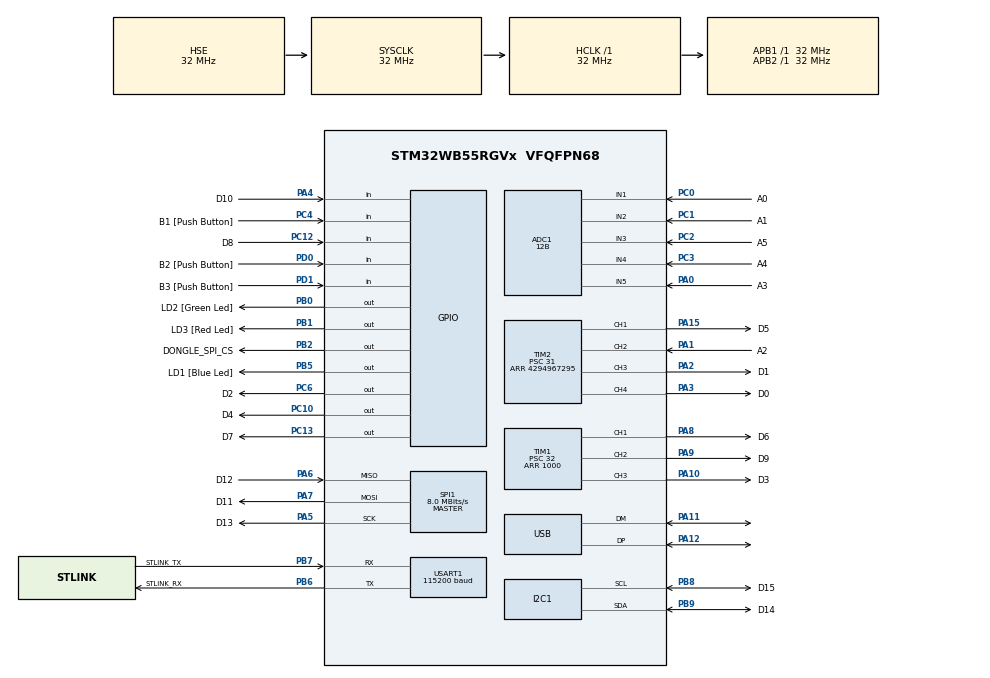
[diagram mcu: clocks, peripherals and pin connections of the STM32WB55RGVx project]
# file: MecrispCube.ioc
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ADC1.Channel-0\#ChannelRegularConversion=ADC_CHANNEL_1
ADC1.Channel-IN1=ADC_CHANNEL_1
ADC1.Channel-IN2=ADC_CHANNEL_2
ADC1.Channel-IN3=ADC_CHANNEL_3
ADC1.Channel-IN4=ADC_CHANNEL_4
ADC1.Channel-IN5=ADC_CHANNEL_5
ADC1.ClockPrescaler=ADC_CLOCK_ASYNC_DIV1
ADC1.ContinuousConvMode=DISABLE
ADC1.DMAContinuousRequests=DISABLE
ADC1.DataAlign=ADC_DATAALIGN_RIGHT
ADC1.DiscontinuousConvMode=DISABLE
ADC1.EOCSelection=ADC_EOC_SINGLE_CONV
ADC1.EnableAnalogWatchDog1=false
ADC1.EnableAnalogWatchDog2=false
ADC1.EnableAnalogWatchDog3=false
ADC1.EnableInjectedConversion=DISABLE
ADC1.EnableRegularConversion=ENABLE
ADC1.ExternalTrigConv=ADC_SOFTWARE_START
ADC1.ExternalTrigConvEdge=ADC_EXTERNALTRIGCONVEDGE_NONE
ADC1.LowPowerAutoWait=DISABLE
ADC1.NbrOfConversion=1
ADC1.OffsetNumber-0\#ChannelRegularConversion=ADC_OFFSET_NONE
ADC1.Overrun=ADC_OVR_DATA_PRESERVED
ADC1.OversamplingMode=DISABLE
ADC1.Rank-0\#ChannelRegularConversion=1
ADC1.Resolution=ADC_RESOLUTION_12B
ADC1.SamplingTime-0\#ChannelRegularConversion=ADC_SAMPLETIME_47CYCLES_5
ADC1.ScanConvMode=ADC_SCAN_DISABLE
ADC1.master=1
AES1.Algorithm=CRYP_AES_ECB
AES1.DataType=CRYP_DATATYPE_32B
AES1.DataWidthUnit=CRYP_DATAWIDTHUNIT_WORD
AES1.KeyIVConfigSkip=CRYP_KEYIVCONFIG_ALWAYS
AES1.KeySize=CRYP_KEYSIZE_128B
AES1.pKey=00000000 00000000 00000000 00000000
CRC.DefaultInitValueUse=DEFAULT_INIT_VALUE_ENABLE
CRC.DefaultPolynomialUse=DEFAULT_POLYNOMIAL_ENABLE
CRC.InputDataFormat=CRC_INPUTDATA_FORMAT_BYTES
CRC.InputDataInversionMode=CRC_INPUTDATA_INVERSION_NONE
CRC.OutputDataInversionMode=CRC_OUTPUTDATA_INVERSION_DISABLE
Dma.Request0=SPI1_RX
Dma.Request1=SPI1_TX
Dma.SPI1_RX.0.Direction=DMA_PERIPH_TO_MEMORY
Dma.SPI1_RX.0.EventEnable=DISABLE
Dma.SPI1_RX.0.Instance=DMA1_Channel1
Dma.SPI1_RX.0.MemDataAlignment=DMA_MDATAALIGN_BYTE
Dma.SPI1_RX.0.MemInc=DMA_MINC_ENABLE
Dma.SPI1_RX.0.Mode=DMA_NORMAL
Dma.SPI1_RX.0.PeriphDataAlignment=DMA_PDATAALIGN_BYTE
Dma.SPI1_RX.0.PeriphInc=DMA_PINC_DISABLE
Dma.SPI1_RX.0.Polarity=HAL_DMAMUX_REQ_GEN_RISING
Dma.SPI1_RX.0.Priority=DMA_PRIORITY_LOW
Dma.SPI1_RX.0.RequestNumber=1
Dma.SPI1_RX.0.SignalID=NONE
Dma.SPI1_RX.0.SyncEnable=DISABLE
Dma.SPI1_RX.0.SyncPolarity=HAL_DMAMUX_SYNC_NO_EVENT
Dma.SPI1_RX.0.SyncRequestNumber=1
Dma.SPI1_RX.0.SyncSignalID=NONE
Dma.SPI1_TX.1.Direction=DMA_MEMORY_TO_PERIPH
Dma.SPI1_TX.1.EventEnable=DISABLE
Dma.SPI1_TX.1.Instance=DMA1_Channel2
Dma.SPI1_TX.1.MemDataAlignment=DMA_MDATAALIGN_BYTE
Dma.SPI1_TX.1.MemInc=DMA_MINC_ENABLE
Dma.SPI1_TX.1.Mode=DMA_NORMAL
Dma.SPI1_TX.1.PeriphDataAlignment=DMA_PDATAALIGN_BYTE
Dma.SPI1_TX.1.PeriphInc=DMA_PINC_DISABLE
Dma.SPI1_TX.1.Polarity=HAL_DMAMUX_REQ_GEN_RISING
Dma.SPI1_TX.1.Priority=DMA_PRIORITY_LOW
Dma.SPI1_TX.1.RequestNumber=1
Dma.SPI1_TX.1.SignalID=NONE
Dma.SPI1_TX.1.SyncEnable=DISABLE
Dma.SPI1_TX.1.SyncPolarity=HAL_DMAMUX_SYNC_NO_EVENT
Dma.SPI1_TX.1.SyncRequestNumber=1
Dma.SPI1_TX.1.SyncSignalID=NONE
FREERTOS.HEAP_NUMBER=4
FREERTOS.INCLUDE_eTaskGetState=1
FREERTOS.INCLUDE_pcTaskGetTaskName=0
FREERTOS.INCLUDE_uxTaskGetStackHighWaterMark=1
FREERTOS.INCLUDE_uxTaskGetStackHighWaterMark2=0
FREERTOS.INCLUDE_uxTaskPriorityGet=1
FREERTOS.INCLUDE_vTaskCleanUpResources=0
FREERTOS.INCLUDE_vTaskDelay=1
FREERTOS.INCLUDE_vTaskDelayUntil=1
FREERTOS.INCLUDE_vTaskDelete=1
FREERTOS.INCLUDE_vTaskPrioritySet=1
FREERTOS.INCLUDE_vTaskSuspend=1
FREERTOS.INCLUDE_xEventGroupSetBitFromISR=0
FREERTOS.INCLUDE_xQueueGetMutexHolder=1
FREERTOS.INCLUDE_xSemaphoreGetMutexHolder=0
FREERTOS.INCLUDE_xTaskAbortDelay=0
FREERTOS.INCLUDE_xTaskGetCurrentTaskHandle=1
FREERTOS.INCLUDE_xTaskGetHandle=0
FREERTOS.INCLUDE_xTaskGetSchedulerState=1
FREERTOS.INCLUDE_xTaskResumeFromISR=1
FREERTOS.INCLUDE_xTimerPendFunctionCall=1
FREERTOS.Tasks01=FORTH_ConThread,24,512,MainThread,Default,NULL,Dynamic,NULL,NULL
FREERTOS.configCHECK_FOR_STACK_OVERFLOW=0
FREERTOS.configENABLE_BACKWARD_COMPATIBILITY=1
FREERTOS.configENABLE_FPU=0
FREERTOS.configGENERATE_RUN_TIME_STATS=0
FREERTOS.configHEAP_CLEAR_MEMORY_ON_FREE=0
FREERTOS.configIDLE_SHOULD_YIELD=1
FREERTOS.configLIBRARY_LOWEST_INTERRUPT_PRIORITY=15
FREERTOS.configLIBRARY_MAX_SYSCALL_INTERRUPT_PRIORITY=5
FREERTOS.configMAX_CO_ROUTINE_PRIORITIES=2
FREERTOS.configMAX_TASK_NAME_LEN=16
FREERTOS.configMINIMAL_STACK_SIZE=192
FREERTOS.configOVERRIDE_DEFAULT_TICK_CONFIGURATION=0
FREERTOS.configQUEUE_REGISTRY_SIZE=8
FREERTOS.configRECORD_STACK_HIGH_ADDRESS=0
FREERTOS.configTICK_RATE_HZ=1000
FREERTOS.configTIMER_QUEUE_LENGTH=10
FREERTOS.configTIMER_TASK_PRIORITY=2
FREERTOS.configTIMER_TASK_STACK_DEPTH=192
FREERTOS.configTOTAL_HEAP_SIZE=81920
FREERTOS.configUSE_APPLICATION_TASK_TAG=0
FREERTOS.configUSE_COUNTING_SEMAPHORES=1
FREERTOS.configUSE_CO_ROUTINES=0
FREERTOS.configUSE_DAEMON_TASK_STARTUP_HOOK=0
FREERTOS.configUSE_IDLE_HOOK=0
FREERTOS.configUSE_MALLOC_FAILED_HOOK=0
FREERTOS.configUSE_MINI_LIST_ITEM=1
FREERTOS.configUSE_MUTEXES=1
FREERTOS.configUSE_NEWLIB_REENTRANT=1
FREERTOS.configUSE_OS2_EVENTFLAGS_FROM_ISR=1
FREERTOS.configUSE_OS2_MUTEX=1
FREERTOS.configUSE_OS2_THREAD_ENUMERATE=1
FREERTOS.configUSE_OS2_THREAD_FLAGS=1
FREERTOS.configUSE_OS2_THREAD_SUSPEND_RESUME=1
FREERTOS.configUSE_OS2_TIMER=1
FREERTOS.configUSE_POSIX_ERRNO=0
FREERTOS.configUSE_PREEMPTION=1
FREERTOS.configUSE_RECURSIVE_MUTEXES=1
FREERTOS.configUSE_SB_COMPLETED_CALLBACK=0
FREERTOS.configUSE_STATS_FORMATTING_FUNCTIONS=0
FREERTOS.configUSE_TASK_NOTIFICATIONS=1
FREERTOS.configUSE_TICKLESS_IDLE=0
FREERTOS.configUSE_TICK_HOOK=0
FREERTOS.configUSE_TRACE_FACILITY=1
FREERTOS.copyHeapFile=1
I2C1.Timing=0x00B07CB4
Mcu.Family=STM32WB
Mcu.Name=STM32WB55RGVx
Mcu.Package=VFQFPN68
NVIC.ADC1_IRQn=true\:5\:0\:false\:false\:true\:true\:true\:true\:true
NVIC.DMA1_Channel1_IRQn=true\:5\:0\:false\:false\:true\:true\:false\:true\:true
NVIC.DMA1_Channel2_IRQn=true\:5\:0\:false\:false\:true\:true\:false\:true\:true
NVIC.FLASH_IRQn=true\:5\:0\:false\:false\:true\:true\:true\:true\:true
NVIC.HSEM_IRQn=true\:5\:0\:false\:false\:true\:false\:false\:true\:true
NVIC.IPCC_C1_RX_IRQn=true\:5\:0\:false\:false\:true\:true\:true\:true\:true
NVIC.IPCC_C1_TX_IRQn=true\:5\:0\:false\:false\:true\:true\:true\:true\:true
NVIC.PriorityGroup=NVIC_PRIORITYGROUP_4
NVIC.RTC_WKUP_IRQn=true\:5\:0\:false\:false\:true\:true\:true\:true\:true
NVIC.SPI1_IRQn=true\:5\:0\:false\:false\:true\:true\:true\:true\:true
NVIC.TIM1_TRG_COM_TIM17_IRQn=true\:15\:0\:false\:false\:true\:false\:false\:true\:true
NVIC.TIM1_UP_TIM16_IRQn=true\:5\:0\:false\:false\:true\:true\:true\:true\:true
NVIC.TIM2_IRQn=true\:5\:0\:false\:false\:true\:true\:true\:true\:true
NVIC.TimeBase=TIM1_TRG_COM_TIM17_IRQn
NVIC.TimeBaseIP=TIM17
NVIC.USART1_IRQn=true\:5\:0\:true\:false\:true\:false\:true\:true\:true
NVIC.WWDG_IRQn=true\:5\:0\:false\:false\:true\:true\:true\:true\:true
OSC_IN.Mode=HSE-External-Oscillator
OSC_IN.Signal=RCC_OSC_IN
OSC_OUT.Mode=HSE-External-Oscillator
OSC_OUT.Signal=RCC_OSC_OUT
PA0.GPIO_Label=A3
PA0.Signal=SharedAnalog_PA0
PA1.GPIO_Label=A2
PA1.Signal=S_TIM2_CH2
PA10.GPIO_Label=D3
PA10.Signal=S_TIM1_CH3
PA11.Mode=Device
PA11.Signal=USB_DM
PA12.Mode=Device
PA12.Signal=USB_DP
PA13.GPIO_Label=JTMS
PA13.Mode=Trace_Asynchronous_SW
PA13.Signal=SYS_JTMS-SWDIO
PA14.GPIO_Label=JTCK
PA14.Mode=Trace_Asynchronous_SW
PA14.Signal=SYS_JTCK-SWCLK
PA15.GPIO_Label=D5
PA15.Signal=S_TIM2_CH1
PA2.GPIO_Label=D1
PA2.Signal=S_TIM2_CH3
PA3.GPIO_Label=D0
PA3.Signal=S_TIM2_CH4
PA4.GPIO_Label=D10
PA4.GPIO_PuPd=GPIO_PULLUP
PA4.Signal=GPIO_Input
PA5.GPIO_Label=D13
PA5.Mode=Full_Duplex_Master
PA5.Signal=SPI1_SCK
PA6.GPIO_Label=D12
PA6.GPIO_PuPd=GPIO_PULLUP
PA6.Mode=Full_Duplex_Master
PA6.Signal=SPI1_MISO
PA7.GPIO_Label=D11
PA7.Mode=Full_Duplex_Master
PA7.Signal=SPI1_MOSI
PA8.GPIO_Label=D6
PA8.Signal=S_TIM1_CH1
PA9.GPIO_Label=D9
PA9.Signal=S_TIM1_CH2
PB0.GPIO_Label=LD2 [Green Led]
PB0.Signal=GPIO_Output
PB1.GPIO_Label=LD3 [Red Led]
PB1.Signal=GPIO_Output
PB2.GPIO_Label=DONGLE_SPI_CS
PB2.PinState=GPIO_PIN_SET
PB2.Signal=GPIO_Output
PB3.GPIO_Label=JTDO
PB3.Mode=Trace_Asynchronous_SW
PB3.Signal=SYS_JTDO-SWO
PB5.GPIO_Label=LD1 [Blue Led]
PB5.Signal=GPIO_Output
PB6.GPIO_Label=STLINK_RX
PB6.Mode=Asynchronous
PB6.Signal=USART1_TX
PB7.GPIO_Label=STLINK_TX
PB7.Mode=Asynchronous
PB7.Signal=USART1_RX
PB8.GPIO_Label=D15
PB8.GPIO_PuPd=GPIO_PULLUP
PB8.Signal=SharedStack_PB8
PB8.Stacked=true
PB9.GPIO_Label=D14
PB9.GPIO_PuPd=GPIO_PULLUP
PB9.Signal=SharedStack_PB9
PB9.Stacked=true
PC0.GPIO_Label=A0
PC0.Signal=SharedAnalog_PC0
PC1.GPIO_Label=A1
PC1.Signal=SharedAnalog_PC1
PC10.GPIO_Label=D4
PC10.Signal=GPIO_Output
PC12.GPIO_Label=D8
PC12.GPIO_PuPd=GPIO_PULLUP
PC12.Signal=GPIO_Input
PC13.GPIO_Label=D7
PC13.Signal=GPIO_Output
PC14-OSC32_IN.Mode=LSE-External-Oscillator
PC14-OSC32_IN.Signal=RCC_OSC32_IN
PC15-OSC32_OUT.Mode=LSE-External-Oscillator
PC15-OSC32_OUT.Signal=RCC_OSC32_OUT
PC2.GPIO_Label=A5
PC2.Signal=SharedAnalog_PC2
PC3.GPIO_Label=A4
PC3.Signal=SharedAnalog_PC3
PC4.GPIO_Label=B1 [Push Button]
PC4.GPIO_PuPd=GPIO_PULLUP
PC4.Signal=GPIO_Input
PC6.GPIO_Label=D2
PC6.Signal=GPIO_Output
PD0.GPIO_Label=B2 [Push Button]
PD0.GPIO_PuPd=GPIO_PULLUP
PD0.Signal=GPIO_Input
PD1.GPIO_Label=B3 [Push Button]
PD1.GPIO_PuPd=GPIO_PULLUP
PD1.Signal=GPIO_Input
ProjectManager.HeapSize=0x0400
ProjectManager.StackSize=0x0400
ProjectManager.TargetToolchain=CMake
RCC.ADCFreq_Value=48000000
RCC.AHBFreq_Value=32000000
RCC.APB1Freq_Value=32000000
RCC.APB1TimFreq_Value=32000000
RCC.APB2Freq_Value=32000000
RCC.APB2TimFreq_Value=32000000
RCC.APB3Freq_Value=16000000
RCC.CortexFreq_Value=32000000
RCC.FLatency=FLASH_LATENCY_1
RCC.HCLKFreq_Value=32000000
RCC.HSE_VALUE=32000000
RCC.HSI48_VALUE=48000000
RCC.HSI_VALUE=16000000
RCC.LSE_Drive_Capability=RCC_LSEDRIVE_LOW
RCC.MSIClockRange=RCC_MSIRANGE_10
RCC.PLLM=RCC_PLLM_DIV2
RCC.PLLSAI1N=6
RCC.RTCClockSelection=RCC_RTCCLKSOURCE_LSE
RCC.SYSCLKFreq_VALUE=32000000
RCC.USBFreq_Value=48000000
RCC.VCOOutputFreq_Value=128000000
RF1.Mode=RF1_Activate
RF1.Signal=RF_RF1
RNG.ClockErrorDetection=RNG_CED_ENABLE
RTC.AsynchPrediv=CFG_RTC_ASYNCH_PRESCALER
RTC.Date=1
RTC.DayLightSaving=RTC_DAYLIGHTSAVING_NONE
RTC.Format=RTC_FORMAT_BIN
RTC.HourFormat=RTC_HOURFORMAT_24
RTC.Hours=0
RTC.Minutes=0
RTC.Month=RTC_MONTH_JANUARY
RTC.Seconds=0
RTC.StoreOperation=RTC_STOREOPERATION_RESET
RTC.SynchPrediv=CFG_RTC_SYNCH_PRESCALER
RTC.WakeUpClock-WakeUp=RTC_WAKEUPCLOCK_RTCCLK_DIV16
RTC.WakeUpCounter-WakeUp=0
RTC.WeekDay=RTC_WEEKDAY_MONDAY
RTC.Year=0
SH.S_TIM1_CH1.0=TIM1_CH1,PWM Generation1 CH1
SH.S_TIM1_CH2.0=TIM1_CH2,PWM Generation2 CH2
SH.S_TIM1_CH3.0=TIM1_CH3,PWM Generation3 CH3
SH.S_TIM2_CH1.0=TIM2_CH1,Output Compare1 CH1
SH.S_TIM2_CH2.0=TIM2_CH2,Input_Capture2_from_TI2
SH.S_TIM2_CH3.0=TIM2_CH3,Output Compare3 CH3
SH.S_TIM2_CH4.0=TIM2_CH4,Output Compare4 CH4
SH.SharedAnalog_PA0.0=GPIO_Analog
SH.SharedAnalog_PA0.1=ADC1_IN5,IN5-Single-Ended
SH.SharedAnalog_PC0.0=GPIO_Analog
SH.SharedAnalog_PC0.1=ADC1_IN1,IN1-Single-Ended
SH.SharedAnalog_PC1.0=GPIO_Analog
SH.SharedAnalog_PC1.1=ADC1_IN2,IN2-Single-Ended
SH.SharedAnalog_PC2.0=GPIO_Analog
SH.SharedAnalog_PC2.1=ADC1_IN3,IN3-Single-Ended
SH.SharedAnalog_PC3.0=GPIO_Analog
SH.SharedAnalog_PC3.1=ADC1_IN4,IN4-Single-Ended
SH.SharedStack_PB8.0=GPIO_Input+0
SH.SharedStack_PB8.1=I2C1_SCL,I2C
SH.SharedStack_PB9.0=GPIO_Input+0
SH.SharedStack_PB9.1=I2C1_SDA,I2C
SPI1.BaudRatePrescaler=SPI_BAUDRATEPRESCALER_4
SPI1.CLKPhase=SPI_PHASE_2EDGE
SPI1.CLKPolarity=SPI_POLARITY_HIGH
SPI1.CRCCalculation=SPI_CRCCALCULATION_DISABLE
SPI1.CalculateBaudRate=8.0 MBits/s
SPI1.DataSize=SPI_DATASIZE_8BIT
SPI1.Direction=SPI_DIRECTION_2LINES
SPI1.FirstBit=SPI_FIRSTBIT_MSB
SPI1.Mode=SPI_MODE_MASTER
SPI1.NSS=SPI_NSS_SOFT
SPI1.TIMode=SPI_TIMODE_DISABLE
SPI1.VirtualType=VM_MASTER
TIM1.AutoReloadPreload=TIM_AUTORELOAD_PRELOAD_DISABLE
TIM1.AutomaticOutput=TIM_AUTOMATICOUTPUT_DISABLE
TIM1.Break2Filter=0
TIM1.Break2Polarity=TIM_BREAK2POLARITY_HIGH
TIM1.Break2State=TIM_BREAK2_DISABLE
TIM1.BreakFilter=0
TIM1.BreakPolarity=TIM_BREAKPOLARITY_HIGH
TIM1.BreakState=TIM_BREAK_DISABLE
TIM1.Channel-PWM\ Generation1\ CH1=TIM_CHANNEL_1
TIM1.Channel-PWM\ Generation2\ CH2=TIM_CHANNEL_2
TIM1.Channel-PWM\ Generation3\ CH3=TIM_CHANNEL_3
TIM1.ClearInputSource=TIM_CLEARINPUTSOURCE_NONE
TIM1.ClockDivision=TIM_CLOCKDIVISION_DIV1
TIM1.CounterMode=TIM_COUNTERMODE_UP
TIM1.LockLevel=TIM_LOCKLEVEL_OFF
TIM1.OC1Preload_PWM=ENABLE
TIM1.OC2Preload_PWM=ENABLE
TIM1.OC3Preload_PWM=ENABLE
TIM1.OCFastMode_PWM-PWM\ Generation1\ CH1=TIM_OCFAST_DISABLE
TIM1.OCFastMode_PWM-PWM\ Generation2\ CH2=TIM_OCFAST_DISABLE
TIM1.OCFastMode_PWM-PWM\ Generation3\ CH3=TIM_OCFAST_DISABLE
TIM1.OCIdleState_1=TIM_OCIDLESTATE_RESET
TIM1.OCIdleState_2=TIM_OCIDLESTATE_RESET
TIM1.OCIdleState_3=TIM_OCIDLESTATE_RESET
TIM1.OCMode_PWM-PWM\ Generation1\ CH1=TIM_OCMODE_PWM1
TIM1.OCMode_PWM-PWM\ Generation2\ CH2=TIM_OCMODE_PWM1
TIM1.OCMode_PWM-PWM\ Generation3\ CH3=TIM_OCMODE_PWM1
TIM1.OCPolarity_1=TIM_OCPOLARITY_HIGH
TIM1.OCPolarity_2=TIM_OCPOLARITY_HIGH
TIM1.OCPolarity_3=TIM_OCPOLARITY_HIGH
TIM1.OffStateIDLEMode=TIM_OSSI_DISABLE
TIM1.OffStateRunMode=TIM_OSSR_DISABLE
TIM1.Period=1000
TIM1.Prescaler=32
TIM1.Pulse-PWM\ Generation1\ CH1=0
TIM1.Pulse-PWM\ Generation2\ CH2=0
TIM1.Pulse-PWM\ Generation3\ CH3=0
TIM1.RepetitionCounter=0
TIM1.SourceBRK2COMP1=TIM_BREAKINPUTSOURCE_DISABLE
TIM1.SourceBRK2COMP2=TIM_BREAKINPUTSOURCE_DISABLE
TIM1.SourceBRK2DigInput=TIM_BREAKINPUTSOURCE_DISABLE
TIM1.SourceBRKCOMP1=TIM_BREAKINPUTSOURCE_DISABLE
TIM1.SourceBRKCOMP2=TIM_BREAKINPUTSOURCE_DISABLE
TIM1.SourceBRKDigInput=TIM_BREAKINPUTSOURCE_DISABLE
TIM1.TIM_MasterOutputTrigger=TIM_TRGO_RESET
TIM1.TIM_MasterOutputTrigger2=TIM_TRGO2_RESET
TIM1.TIM_MasterSlaveMode=TIM_MASTERSLAVEMODE_DISABLE
TIM2.AutoReloadPreload=TIM_AUTORELOAD_PRELOAD_DISABLE
TIM2.Channel-Input_Capture2_from_TI2=TIM_CHANNEL_2
TIM2.Channel-Output\ Compare1\ CH1=TIM_CHANNEL_1
TIM2.Channel-Output\ Compare3\ CH3=TIM_CHANNEL_3
TIM2.Channel-Output\ Compare4\ CH4=TIM_CHANNEL_4
TIM2.ClearInputSource=TIM_CLEARINPUTSOURCE_NONE
TIM2.ClockDivision=TIM_CLOCKDIVISION_DIV1
TIM2.CounterMode=TIM_COUNTERMODE_UP
TIM2.ICFilter_CH2=0
TIM2.ICPolarity_CH2=TIM_INPUTCHANNELPOLARITY_RISING
TIM2.ICPrescaler-Input_Capture2_from_TI2=TIM_ICPSC_DIV1
TIM2.ICSelection-Input_Capture2_from_TI2=TIM_ICSELECTION_DIRECTTI
TIM2.OC1Preload=DISABLE
TIM2.OC3Preload=DISABLE
TIM2.OC4Preload=DISABLE
TIM2.OCMode_1=TIM_OCMODE_TIMING
TIM2.OCMode_3=TIM_OCMODE_TIMING
TIM2.OCMode_4=TIM_OCMODE_TIMING
TIM2.OCPolarity_1=TIM_OCPOLARITY_HIGH
TIM2.OCPolarity_3=TIM_OCPOLARITY_HIGH
TIM2.OCPolarity_4=TIM_OCPOLARITY_HIGH
TIM2.Period=4294967295
TIM2.Prescaler=31
TIM2.Pulse-Output\ Compare1\ CH1=0
TIM2.Pulse-Output\ Compare3\ CH3=0
TIM2.Pulse-Output\ Compare4\ CH4=0
TIM2.TIM_MasterOutputTrigger=TIM_TRGO_RESET
TIM2.TIM_MasterSlaveMode=TIM_MASTERSLAVEMODE_DISABLE
USART1.AutoBaudRateEnableParam=UART_ADVFEATURE_AUTOBAUDRATE_DISABLE
USART1.BaudRate=115200
USART1.ClockPrescaler=PRESCALER_DIV1
USART1.DMADisableonRxErrorParam=ADVFEATURE_DMA_ENABLEONRXERROR
USART1.DataInvertParam=ADVFEATURE_DATAINV_DISABLE
USART1.FIFOMode=FIFOMODE_ENABLE
USART1.MSBFirstParam=ADVFEATURE_MSBFIRST_DISABLE
USART1.Mode=MODE_TX_RX
USART1.OneBitSampling=UART_ONE_BIT_SAMPLE_DISABLE
USART1.OverSampling=UART_OVERSAMPLING_16
USART1.OverrunDisableParam=ADVFEATURE_OVERRUN_DISABLE
USART1.Parity=PARITY_NONE
USART1.RXFIFOThreshold=RXFIFO_THRESHOLD_1EIGHTHFULL
USART1.RxPinLevelInvertParam=ADVFEATURE_RXINV_DISABLE
USART1.StopBits=STOPBITS_1
USART1.SwapParam=ADVFEATURE_SWAP_DISABLE
USART1.TXFIFOThreshold=TXFIFO_THRESHOLD_1EIGHTHFULL
USART1.TxPinLevelInvertParam=ADVFEATURE_TXINV_DISABLE
USART1.VirtualMode-Asynchronous=VM_ASYNC
USART1.WordLength=WORDLENGTH_8B
USB.DeviceSpeed=PCD_SPEED_FULL
USB.Sof_enable=DISABLE
USB.battery_charging_enable=DISABLE
USB.low_power_enable=DISABLE
USB.lpm_enable=DISABLE
USB.phy_itface=PCD_PHY_EMBEDDED
VP_AES1_VS_AES.Mode=AES_Activate
VP_CRC_VS_CRC.Mode=CRC_Activate
VP_FATFS_VS_Generic.Mode=User_defined
VP_FREERTOS_VS_CMSIS_V2.Mode=CMSIS_V2
VP_HSEM_VS_HSEM.Mode=HSEM_Activate
VP_IPCC_VS_IPCC.Mode=IPCC_Activate
VP_MEMORYMAP_VS_MEMORYMAP.Mode=CurAppReg
VP_PKA_VS_PKA.Mode=PKA_Activate
VP_RCC_USB.Mode=CRS SYNC Source USB
VP_RNG_VS_RNG.Mode=RNG_Activate
VP_RTC_VS_RTC_Activate.Mode=RTC_Enabled
VP_RTC_VS_RTC_Calendar.Mode=RTC_Calendar
VP_RTC_VS_RTC_WakeUp_intern.Mode=WakeUp
VP_STM32_WPAN_VS_BLE_HOST.Mode=STM32_WPAN_Enabled
VP_SYS_VS_tim17.Mode=TIM17
VP_TIM16_VS_ClockSourceINT.Mode=Enable_Timer
VP_TIM1_VS_ClockSourceINT.Mode=Internal
VP_TINY_LPM_VS_TINY_LPM.Mode=TINY_LPM_Enabled
VP_WWDG_VS_WWDG.Mode=WWDG_Activate
WWDG.Counter=64
WWDG.EWIMode=WWDG_EWI_ENABLE
WWDG.Prescaler=WWDG_PRESCALER_32
WWDG.Window=64
board=custom

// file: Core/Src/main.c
/* USER CODE BEGIN Header */
/**
 *  @brief
 *      Mecrisp-Cube, Forth for the STM32 Cube ecosystem.
 *
 *      Forth is a CMSIS-RTOS Thread (FreeRTOS Task) MainThread.
 *      Console I/O (UART, USB-CDC, BLE) is buffered and RTOS aware.
 *
 *      STM32WB55C: 1 MiB FLASH
 *      For details see STM32WB55RGVX_FLASH.ld
 *
 *      FLASH (rx)                 : ORIGIN = 0x08000000, LENGTH = 256K
 *       20 KiB Forth Core
 *      186 KiB Middleware (debug 187 KiB, only 128 font chars)
 *
 *      FLASH_FORTH (rx)           : ORIGIN = 0x08040000, LENGTH = 128K
 *      128 KiB Flash Dictionary
 *
 *      FLASH_DRIVE (rx)           : ORIGIN = 0x08060000, LENGTH = 384K
 *      384 KiB future use for built in flash drive
 *
 *      FLASH_BLESTACK (rx)        : ORIGIN = 0x080C0000, LENGTH = 256K
 *
 *      STM32WB55C: 256 KiB RAM
 *
 *      RAM_FORTH (xrw)            : ORIGIN = 0X20000000, LENGTH = 64K
 *       1 KiB Core
 *      63 KiB RAM Dictionary
 *
 *      RAM1 (xrw)                 : ORIGIN = 0x20010000, LENGTH = 128K
 *       1 KiB Stack         (for startup and ISRs, MSP)
 *       2 KiB Heap          (maybe not needed)
 *       4 KiB Flash erase Buffer
 *       4 KiB Block Buffer
 *      10 KiB global variables
 *      90 KiB RTOS Heap (about 17 KiB free)
 *         Thread Stack size
 *              4 KiB Forth (main)
 *              1 KiB UART_Tx
 *              5 KiB UART_Rx
 *              2 KiB CDC_Rx
 *            0.5 KiB CDC_Tx
 *              1 KiB CRS
 *              1 KiB HRS
 *              1 KiB HCI_USER_EVT
 *              1 KiB ADV_UPDATE
 *              1 KiB SHCI_USER_EVT
 *
 *             40 KiB vi text buffer
 *     107 KiB
 *
 *      RAM_SHARED (xrw)           : ORIGIN = 0x20030000, LENGTH = 10K
 *       10 KiB communication between CPU1 and CPU2 (part of RAM2a)
 *
 *     (RAM2a                      : ORIGIN = 0x20030000, LENGTH = 32K)
 *       10 KiB shared between CPU1 and CPU2
 *       22 KiB secure RAM for CPU2
 *
 *     (RAM2b                      : ORIGIN = 0x20038000, LENGTH = 32K)
 *       15 KiB shared between CPU1 and CPU2
 *       17 KiB secure RAM for CPU2
 *
 *
 *  @file
 *      main.c
 *  @author
 *      Peter Schmid, peter@spyr.ch
 *  @date
 *      2020-03-12
 *  @remark
 *      Language: C, STM32CubeIDE GCC
 *  @copyright
 *      Peter Schmid, Switzerland
 *
 *      This project Mecrsip-Cube is free software: you can redistribute it
 *      and/or modify it under the terms of the GNU General Public License
 *      as published by the Free Software Foundation, either version 3 of
 *      the License, or (at your option) any later version.
 *
 *      Mecrsip-Cube is distributed in the hope that it will be useful, but
 *      WITHOUT ANY WARRANTY; without even the implied warranty of
 *      MERCHANTABILITY or FITNESS FOR A PARTICULAR PURPOSE. See the GNU
 *      General Public License for more details.
 *
 *      You should have received a copy of the GNU General Public License
 *      along with Mecrsip-Cube. If not, see http://www.gnu.org/licenses/.
 */
/* USER CODE END Header */
#include "main.h"
#include "cmsis_os2.h"
#include "FreeRTOS.h"
#include "adc.h"
#include "aes.h"
#include "crc.h"
#include "dma.h"
#include "app_fatfs.h"
#include "i2c.h"
#include "ipcc.h"
#include "pka.h"
#include "rf.h"
#include "rng.h"
#include "rtc.h"
#include "spi.h"
#include "tim.h"
#include "usart.h"
//#include "usb.h"
#include "wwdg.h"
#include "gpio.h"

/* USER CODE BEGIN Includes */
#include "app_common.h"
#include "task.h"
#include "uart.h"
#include "flash.h"
#include "usb_cdc.h"
#include "bsp.h"
#include "spi.h"
#include "sd.h"
#include "block.h"
#include "app_fatfs.h"
#include "fs.h"
#include "clock.h"
#include "myassert.h"
#if POWER == 1
#include "power.h"
#endif
#if DCC == 1
#include "dcc.h"
#endif

/* USER CODE END Includes */

/* USER CODE BEGIN PV */
const char MecrispCubeVersion[] = MECRISP_CUBE_VERSION;
const char MecrispVersion[] = "  * ";
const char rc_local[] = RC_LOCAL;

const char ForthCalculator[] = FORTH_CALCULATOR;

/* USER CODE END PV */

void SystemClock_Config(void);
void PeriphCommonClock_Config(void);
void MX_FREERTOS_Init(void);

int main(void)
{

  /* USER CODE BEGIN 1 */
#if POWER == 1
	POWER_startup();
#endif
  /* USER CODE END 1 */

  /* MCU Configuration--------------------------------------------------------*/

  /* Reset of all peripherals, Initializes the Flash interface and the Systick. */
  HAL_Init();
  /* Config code for STM32_WPAN (HSE Tuning must be done before system clock configuration) */
  MX_APPE_Config();

  /* USER CODE BEGIN Init */

  /* activate divide by zero trap (usage fault) */
  SCB->CCR |= SCB_CCR_DIV_0_TRP_Msk;
  /* enable Usage-/Bus-/MPU Fault */
  SCB->SHCSR |= SCB_SHCSR_USGFAULTENA_Msk
             |  SCB_SHCSR_BUSFAULTENA_Msk
             |  SCB_SHCSR_MEMFAULTENA_Msk;

  /* USER CODE END Init */

  /* Configure the system clock */
  SystemClock_Config();

  /* Configure the peripherals common clocks */
  PeriphCommonClock_Config();

  /* IPCC initialisation */
  MX_IPCC_Init();

  /* Initialize all configured peripherals */
  MX_GPIO_Init();
  MX_DMA_Init();
  MX_USART1_UART_Init();
  MX_RTC_Init();
  MX_ADC1_Init();
  MX_TIM1_Init();
  MX_SPI1_Init();
  if (MX_FATFS_Init() != APP_OK) {
    Error_Handler();
  }
  MX_TIM2_Init();
#if DCC == 1
  MX_TIM16_Init();
#endif
//  MX_WWDG_Init();
  MX_AES1_Init();
  MX_RNG_Init();
  MX_PKA_Init();
  MX_CRC_Init();
//  MX_USB_PCD_Init();
  MX_I2C1_Init();
  MX_RF_Init();
  /* USER CODE BEGIN 2 */
#if CFG_DEBUGGER_SUPPORTED == 1
  // test for SWO debug trace
  printf("Hallo Velo\n");
#endif

  /**
   * This prevents the CPU2 to disable the HSI48 oscillator when
   * it does not use anymore the RNG IP
   */
  int i = 100;
  while (LL_HSEM_1StepLock(HSEM, CFG_HW_CLK48_CONFIG_SEMID) && i > 0) {
	  // lock failed
	  i--;
  }
  /* USER CODE END 2 */

  /* Init scheduler */
  osKernelInitialize();

  /* Init code for STM32_WPAN */
  MX_APPE_Init();

  /* Call init function for freertos objects (in cmsis_os2.c) */
  MX_FREERTOS_Init();

  /* Start scheduler */
  osKernelStart();

  /* We should never get here as control is now taken by the scheduler */

  /* Infinite loop */
  while (1)
  {

  }
}

void SystemClock_Config(void)
{
  RCC_OscInitTypeDef RCC_OscInitStruct = {0};
  RCC_ClkInitTypeDef RCC_ClkInitStruct = {0};
  RCC_CRSInitTypeDef RCC_CRSInitStruct = {0};

  /** Macro to configure the PLL multiplication factor
  */
  __HAL_RCC_PLL_PLLM_CONFIG(RCC_PLLM_DIV2);

  /** Macro to configure the PLL clock source
  */
  __HAL_RCC_PLL_PLLSOURCE_CONFIG(RCC_PLLSOURCE_MSI);

  /** Configure LSE Drive Capability
  */
  HAL_PWR_EnableBkUpAccess();
  __HAL_RCC_LSEDRIVE_CONFIG(RCC_LSEDRIVE_LOW);

  /** Configure the main internal regulator output voltage
  */
  __HAL_PWR_VOLTAGESCALING_CONFIG(PWR_REGULATOR_VOLTAGE_SCALE1);

  /** Initializes the RCC Oscillators according to the specified parameters
  * in the RCC_OscInitTypeDef structure.
  */
  RCC_OscInitStruct.OscillatorType = RCC_OSCILLATORTYPE_HSI48|RCC_OSCILLATORTYPE_HSI
                              |RCC_OSCILLATORTYPE_LSI1|RCC_OSCILLATORTYPE_HSE
                              |RCC_OSCILLATORTYPE_LSE;
  RCC_OscInitStruct.HSEState = RCC_HSE_ON;
  RCC_OscInitStruct.LSEState = RCC_LSE_ON;
  RCC_OscInitStruct.HSIState = RCC_HSI_ON;
  RCC_OscInitStruct.HSI48State = RCC_HSI48_ON;
  RCC_OscInitStruct.HSICalibrationValue = RCC_HSICALIBRATION_DEFAULT;
  RCC_OscInitStruct.LSIState = RCC_LSI_ON;
  RCC_OscInitStruct.PLL.PLLState = RCC_PLL_NONE;
  if (HAL_RCC_OscConfig(&RCC_OscInitStruct) != HAL_OK)
  {
    Error_Handler();
  }

  /** Configure the SYSCLKSource, HCLK, PCLK1 and PCLK2 clocks dividers
  */
  RCC_ClkInitStruct.ClockType = RCC_CLOCKTYPE_HCLK4|RCC_CLOCKTYPE_HCLK2
                              |RCC_CLOCKTYPE_HCLK|RCC_CLOCKTYPE_SYSCLK
                              |RCC_CLOCKTYPE_PCLK1|RCC_CLOCKTYPE_PCLK2;
  RCC_ClkInitStruct.SYSCLKSource = RCC_SYSCLKSOURCE_HSE;
  RCC_ClkInitStruct.AHBCLKDivider = RCC_SYSCLK_DIV1;
  RCC_ClkInitStruct.APB1CLKDivider = RCC_HCLK_DIV1;
  RCC_ClkInitStruct.APB2CLKDivider = RCC_HCLK_DIV1;
  RCC_ClkInitStruct.AHBCLK2Divider = RCC_SYSCLK_DIV1;
  RCC_ClkInitStruct.AHBCLK4Divider = RCC_SYSCLK_DIV1;

  if (HAL_RCC_ClockConfig(&RCC_ClkInitStruct, FLASH_LATENCY_1) != HAL_OK)
  {
    Error_Handler();
  }

  /** Enable the SYSCFG APB clock
  */
  __HAL_RCC_CRS_CLK_ENABLE();

  /** Configures CRS
  */
  RCC_CRSInitStruct.Prescaler = RCC_CRS_SYNC_DIV1;
  RCC_CRSInitStruct.Source = RCC_CRS_SYNC_SOURCE_USB;
  RCC_CRSInitStruct.Polarity = RCC_CRS_SYNC_POLARITY_RISING;
  RCC_CRSInitStruct.ReloadValue = __HAL_RCC_CRS_RELOADVALUE_CALCULATE(48000000,1000);
  RCC_CRSInitStruct.ErrorLimitValue = 34;
  RCC_CRSInitStruct.HSI48CalibrationValue = 32;

  HAL_RCCEx_CRSConfig(&RCC_CRSInitStruct);
}

void PeriphCommonClock_Config(void)
{
  RCC_PeriphCLKInitTypeDef PeriphClkInitStruct = {0};

  /** Initializes the peripherals clock
  */

  PeriphClkInitStruct.PeriphClockSelection = RCC_PERIPHCLK_SMPS|RCC_PERIPHCLK_RFWAKEUP;
  PeriphClkInitStruct.RFWakeUpClockSelection = RCC_RFWKPCLKSOURCE_LSE;
  PeriphClkInitStruct.SmpsClockSelection = RCC_SMPSCLKSOURCE_HSI;
  PeriphClkInitStruct.SmpsDivSelection = RCC_SMPSCLKDIV_RANGE1;

  if (HAL_RCCEx_PeriphCLKConfig(&PeriphClkInitStruct) != HAL_OK)
  {
    Error_Handler();
  }
  /* USER CODE BEGIN Smps */

  // USB clock configuration
  // ***********************

  RCC_CRSInitTypeDef RCC_CRSInitStruct= {0};
  __HAL_RCC_CRS_CLK_ENABLE();

  PeriphClkInitStruct.PeriphClockSelection = RCC_PERIPHCLK_USB;
  PeriphClkInitStruct.UsbClockSelection    = RCC_USBCLKSOURCE_HSI48;
  HAL_RCCEx_PeriphCLKConfig(&PeriphClkInitStruct);

  /*Enable CRS Clock*/
  __HAL_RCC_CRS_CLK_ENABLE();

  /* Default Synchro Signal division factor (not divided) */
  RCC_CRSInitStruct.Prescaler = RCC_CRS_SYNC_DIV1;

  /* Set the SYNCSRC[1:0] bits according to CRS_Source value */
  RCC_CRSInitStruct.Source = RCC_CRS_SYNC_SOURCE_USB;

  /* HSI48 is synchronized with USB SOF at 1KHz rate */
  RCC_CRSInitStruct.ReloadValue =  __HAL_RCC_CRS_RELOADVALUE_CALCULATE(48000000, 1000);
  RCC_CRSInitStruct.ErrorLimitValue = RCC_CRS_ERRORLIMIT_DEFAULT;

  /* Set the TRIM[5:0] to the default value */
  RCC_CRSInitStruct.HSI48CalibrationValue = RCC_CRS_HSI48CALIBRATION_DEFAULT;

  /* Start automatic synchronization */
  HAL_RCCEx_CRSConfig(&RCC_CRSInitStruct);

  /* USER CODE END Smps */
}

/* USER CODE BEGIN 4 */

void vApplicationStackOverflowHook( TaskHandle_t xTask, char *pcTaskName ) {
	ASSERT_fatal(0, ASSERT_STACK_OVERFLOW, (uint32_t) pcTaskName);
}

void vApplicationMallocFailedHook(void) {
	ASSERT_fatal(0, ASSERT_MALLOC_FAILED, 0);
} // vApplicationMallocFailedHook

/* USER CODE END 4 */

void HAL_TIM_PeriodElapsedCallback(TIM_HandleTypeDef *htim)
{
  /* USER CODE BEGIN Callback 0 */
	  if (htim->Instance == TIM2) {
	    BSP_TIM2_PeriodElapsedCallback();
	  }

  /* USER CODE END Callback 0 */
  if (htim->Instance == TIM17)
  {
    HAL_IncTick();
  }
}

void Error_Handler(void)
{
  /* USER CODE BEGIN Error_Handler_Debug */
  /* User can add his own implementation to report the HAL error return state */
	BSP_setLED3(TRUE);
  /* USER CODE END Error_Handler_Debug */
}

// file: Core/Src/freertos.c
/* USER CODE BEGIN Header */
/**
  ******************************************************************************
  * File Name          : freertos.c
  * Description        : Code for freertos applications
  ******************************************************************************
  * @attention
  *
  * <h2><center>&copy; Copyright (c) 2021 STMicroelectronics.
  * All rights reserved.</center></h2>
  *
  * This software component is licensed by ST under Ultimate Liberty license
  * SLA0044, the "License"; You may not use this file except in compliance with
  * the License. You may obtain a copy of the License at:
  *                             www.st.com/SLA0044
  *
  ******************************************************************************
  */
/* USER CODE END Header */

#include "FreeRTOS.h"
#include "task.h"
#include "main.h"
#include "cmsis_os.h"

/* USER CODE BEGIN Includes */
#include "app_common.h"
#include "uart.h"
#include "flash.h"
#include "usb_cdc.h"
#include "bsp.h"
#include "fd_spi.h"
#include "rt_spi.h"
#include "sd.h"
#include "fd.h"
#include "block.h"
#include "app_fatfs.h"
#include "fs.h"
#include "vi.h"
#include "clock.h"
#include "iic.h"
#include "oled.h"
#include "plex.h"
#include "dotstar.h"
#include "myassert.h"
#include "tiny.h"

/* USER CODE END Includes */

/* Definitions for Main */
osThreadId_t MainHandle;
const osThreadAttr_t Main_attributes = {
  .name = "FORTH_Console",
  .stack_size = 128 * 20,
  .priority = (osPriority_t) osPriorityNormal,
};

/* USER CODE BEGIN FunctionPrototypes */
void Forth(void);

/* USER CODE END FunctionPrototypes */

void MainThread(void *argument);

extern void MX_USB_DEVICE_Init(void);
void MX_FREERTOS_Init(void); /* (MISRA C 2004 rule 8.1) */

/* Hook prototypes */
void vApplicationStackOverflowHook(xTaskHandle xTask, signed char *pcTaskName);
void vApplicationMallocFailedHook(void);

/* USER CODE BEGIN 4 */
void vApplicationStackOverflowHook(xTaskHandle xTask, signed char *pcTaskName)
{
   /* Run time stack overflow checking is performed if
   configCHECK_FOR_STACK_OVERFLOW is defined to 1 or 2. This hook function is
   called if a stack overflow is detected. */
	ASSERT_fatal(0, ASSERT_STACK_OVERFLOW, (uint32_t) pcTaskName);

}
/* USER CODE END 4 */

/* USER CODE BEGIN 5 */
void vApplicationMallocFailedHook(void)
{
   /* vApplicationMallocFailedHook() will only be called if
   configUSE_MALLOC_FAILED_HOOK is set to 1 in FreeRTOSConfig.h. It is a hook
   function that will get called if a call to pvPortMalloc() fails.
   pvPortMalloc() is called internally by the kernel whenever a task, queue,
   timer or semaphore is created. It is also called by various parts of the
   demo application. If heap_1.c or heap_2.c are used, then the size of the
   heap available to pvPortMalloc() is defined by configTOTAL_HEAP_SIZE in
   FreeRTOSConfig.h, and the xPortGetFreeHeapSize() API function can be used
   to query the size of free heap space that remains (although it does not
   provide information on how the remaining heap might be fragmented). */
	ASSERT_fatal(0, ASSERT_MALLOC_FAILED, 0);
}
/* USER CODE END 5 */

void MX_FREERTOS_Init(void) {
  /* USER CODE BEGIN Init */
	BSP_init();
	RTC_init();
	UART_init();
	IIC_init();
	CDC_init();
	FLASH_init();
//	SDSPI_init();
	RTSPI_init();
	SD_init();
	FD_init();
	BLOCK_init();
	FS_init();
	VI_init();
	TINY_init();

  /* USER CODE END Init */

  /* Create the thread(s) */
  /* creation of Main */
  MainHandle = osThreadNew(MainThread, NULL, &Main_attributes);

}

void MainThread(void *argument) {
	/* init code for USB_DEVICE */
	//  MX_USB_DEVICE_Init();
/* USER CODE BEGIN MainThread */
	BSP_setNeoPixel(0x008000); // power on LED, green LED
	ASSERT_init();
#if OLED == 1
	OLED_init();
#endif
#if MIP == 1
	MIP_init();
#endif
#if PLEX == 1
	PLEX_init();
#endif
#if EPD == 1
	EPD_init();
#endif
#if DOTSTAR == 1
	DOTSTAR_init();
#endif
	ASSERT_init();
	BSP_setNeoPixel(0x000000); // power on LED, off

	Forth();

	ASSERT_fatal(0, ASSERT_FORTH_UNEXPECTED_EXIT, 0)
/* USER CODE END MainThread */
}

/************************ (C) COPYRIGHT STMicroelectronics *****END OF FILE****/

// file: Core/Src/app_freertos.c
/* USER CODE BEGIN Header */
/**
  ******************************************************************************
  * File Name          : app_freertos.c
  * Description        : Code for freertos applications
  ******************************************************************************
  * @attention
  *
  * Copyright (c) 2026 STMicroelectronics.
  * All rights reserved.
  *
  * This software is licensed under terms that can be found in the LICENSE file
  * in the root directory of this software component.
  * If no LICENSE file comes with this software, it is provided AS-IS.
  *
  ******************************************************************************
  */
/* USER CODE END Header */

#include "FreeRTOS.h"
#include "task.h"
#include "main.h"
#include "cmsis_os2.h"
#include "FreeRTOS.h"

/* USER CODE BEGIN Includes */
#include "app_common.h"
#include "app_entry.h"
#include "uart.h"
#include "flash.h"
#include "usb_cdc.h"
#include "bsp.h"
#include "rt_spi.h"
#include "sd.h"
#include "fd.h"
#include "block.h"
#include "app_fatfs.h"
#include "fs.h"
#include "vi.h"
#include "shci.h"
#include "clock.h"
#include "iic.h"
#include "plex.h"
#include "watchdog.h"
#include "myassert.h"
#if OLED == 1
#include "oled.h"
#endif
#if MIP == 1
#include "mip.h"
#endif
#if EPD == 1
#include "epd.h"
#endif
#if QUAD == 1
#include "quad.h"
#endif
#if BUTTON == 1
#include "button.h"
#endif
#include "tiny.h"
#if POWER == 1
#include "power.h"
#endif
#if DCC == 1
#include "dcc.h"
#endif

/* USER CODE END Includes */

/* Definitions for FORTH_ConThread */
osThreadId_t FORTH_ConThreadHandle;
const osThreadAttr_t FORTH_ConThread_attributes = {
  .name = "FORTH_Console",
  .priority = (osPriority_t) osPriorityNormal,
  .stack_size = 512 * 4
};

/* USER CODE BEGIN FunctionPrototypes */
void Forth(void);

/* USER CODE END FunctionPrototypes */

void MainThread(void *argument);

void MX_FREERTOS_Init(void); /* (MISRA C 2004 rule 8.1) */

void MX_FREERTOS_Init(void) {
  /* USER CODE BEGIN Init */
#if POWER == 1
	POWER_init();
#endif
	WATCHDOG_init();
	BSP_init();
	RTC_init();
	UART_init();
	IIC_init();
	CDC_init();
	FLASH_init();
	RTSPI_init();
	VI_init();
	TINY_init();
#if DCC == 1
	DCC_init();
#endif

  /* USER CODE END Init */

  /* Create the thread(s) */
  /* creation of FORTH_ConThread */
  FORTH_ConThreadHandle = osThreadNew(MainThread, NULL, &FORTH_ConThread_attributes);

}

void MainThread(void *argument)
{
 /* USER CODE BEGIN MainThread */
 //	BSP_setSysLED(SYSLED_POWER_ON); // dimmed white LED
	BSP_setLED2(TRUE);
	ASSERT_init();
#if SD_DRIVE == 1
	BLOCK_init();
	SD_init();
#endif
	FD_init();
	FS_init();
#if OLED == 1
	OLED_init();
#endif
#if MIP == 1
	MIP_init();
#endif
#if PLEX == 1
	PLEX_init();
#endif
#if EPD == 1
	EPD_init();
#endif
#if BUTTON == 1
	BUTTON_init();
#endif

	// wait till BLE is ready
	if (osThreadFlagsWait(BLE_IS_READY, osFlagsWaitAny, 2000) == BLE_IS_READY) {
		// sem7 is used by CPU2 to prevent CPU1 from writing/erasing data in Flash memory
		SHCI_C2_SetFlashActivityControl(FLASH_ACTIVITY_CONTROL_SEM7);
//		BSP_clearSysLED(SYSLED_POWER_ON);
		BSP_setLED2(FALSE);
	} else {
		// timeout -> BLE (CPU2) not started, flash operations not possible
//		BSP_clearSysLED(SYSLED_POWER_ON);
//		BSP_setSysLED(SYSLED_ERROR); // dimmed red LED
		BSP_setLED2(FALSE);
		BSP_setLED3(TRUE);
	}

	Forth();

	ASSERT_fatal(0, ASSERT_FORTH_UNEXPECTED_EXIT, 0);

  /* USER CODE END MainThread */
}
